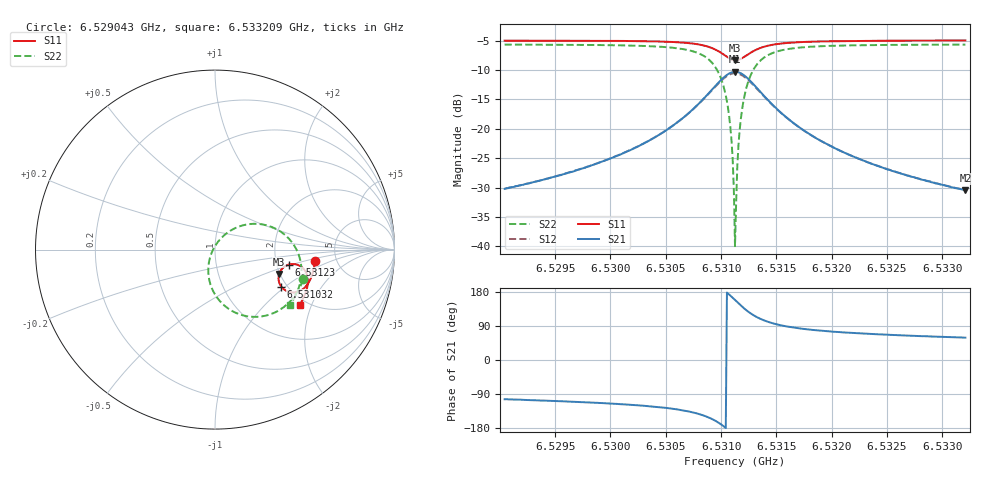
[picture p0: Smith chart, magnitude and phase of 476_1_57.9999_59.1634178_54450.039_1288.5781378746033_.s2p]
#  HZ  S  RI  R  50.00
! Rohde & Schwarz Vector Network Analyzer
! Rohde-Schwarz,ZNB20-2Port,1311601062101988,3.16
! Created: UTC 3/21/2024, 1:11:40 AM
! freq[Hz]  re:S11  im:S11  re:S21  im:S21  re:S12  im:S12  re:S22  im:S22
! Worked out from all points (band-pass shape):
!   401 points, 6.529043 GHz to 6.533209 GHz, reference 50 ohm
!   highest |S21| = -10.31 dB at 6.531126 GHz (marker M1); lowest = -30.4 dB at 6.533209 GHz (marker M2)
!   |S21| within 3 dB of the highest: 6.530919 GHz to 6.531335 GHz (416 kHz wide, 0.00637 % of centre)
!   lowest |S11| = -8.3 dB at 6.531126 GHz (marker M3), VSWR 2.24, Z = 98.9 - j31.6 ohm
!   |S11| at or under -10 dB: nowhere
!   |S22| runs from -39.9 to -5.7 dB; largest |S21 - S12| = 0.012
!   S11 on the Smith chart (normalised r, x): 6.529043 GHz: 3.43, -0.63; 6.531032 GHz: 1.86, -0.93; 6.53123 GHz: 2.34, -0.47; 6.533209 GHz: 1.82, -1.64
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6.5290428e9  0.5574 -0.0629  -0.00726 -0.03  -0.00787 -0.0299  0.492 -0.1665
6.5297406e9  0.5468 -0.1209  -0.0167 -0.0428  -0.0176 -0.0423  0.4614 -0.2314
6.5304384e9  0.518 -0.1896  -0.0502 -0.0732  -0.0522 -0.0719  0.3805 -0.3223
6.5306779e9  0.491 -0.2193  -0.0895 -0.0923  -0.0921 -0.0895  0.3006 -0.363
6.530855e9  0.4474 -0.2381  -0.1571 -0.0988  -0.1594 -0.0924  0.1752 -0.3706
6.5309591e9  0.4031 -0.2327  -0.226 -0.0724  -0.2252 -0.0632  0.0577 -0.3164
6.531032e9  0.3688 -0.2056  -0.2768 -0.0144  -0.2713 -0.00493  -0.0196 -0.2106
6.5310737e9  0.3561 -0.1778  -0.2928 0.038  -0.284 0.0458  -0.0376 -0.1204
6.5310945e9  0.3538 -0.1615  -0.2934 0.0679  -0.2835 0.074  -0.0339 -0.0713
6.5311049e9  0.3541 -0.1532  -0.2915 0.083  -0.2812 0.0883  -0.0284 -0.0467
6.5311154e9  0.3551 -0.1447  -0.2881 0.0981  -0.2776 0.1025  -0.0204 -0.0223
6.5311258e9  0.3572 -0.1364  -0.2833 0.1128  -0.2725 0.1163  -0.00998 0.00129
6.5311362e9  0.3602 -0.1284  -0.2769 0.127  -0.2662 0.1296  0.00267 0.0235
6.5311466e9  0.3639 -0.1208  -0.2692 0.1406  -0.2585 0.1421  0.0174 0.0444
6.531157e9  0.3684 -0.1137  -0.2602 0.1531  -0.2499 0.1537  0.0341 0.0635
6.5311778e9  0.3794 -0.1012  -0.2395 0.1749  -0.2299 0.1738  0.0715 0.096
6.5312299e9  0.4123 -0.0831  -0.1792 0.2068  -0.1727 0.2037  0.1761 0.1399
6.5313028e9  0.455 -0.0834  -0.1041 0.209  -0.1008 0.2057  0.3029 0.1308
6.531407e9  0.4922 -0.106  -0.0395 0.178  -0.0379 0.1763  0.4085 0.0642
6.5318236e9  0.5175 -0.1859  0.0159 0.0857  0.0169 0.0854  0.482 -0.128
6.5325214e9  0.4979 -0.2571  0.0178 0.041  0.0186 0.0409  0.4539 -0.245
6.5332088e9  0.471 -0.3083  0.0156 0.0257  0.0161 0.0256  0.4193 -0.3061
